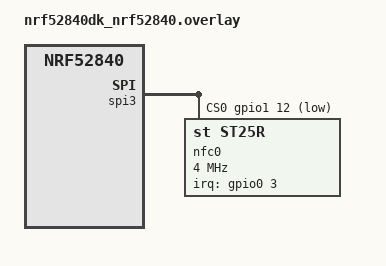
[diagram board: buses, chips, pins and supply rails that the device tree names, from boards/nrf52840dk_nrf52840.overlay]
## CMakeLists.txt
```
#-------------------------------------------------------------------------------
# Zephyr Example Application
#
# Copyright (c) 2021 Nordic Semiconductor ASA
# SPDX-License-Identifier: Apache-2.0

cmake_minimum_required(VERSION 3.21)

# STEP 8.1 Add external module
list(APPEND EXTRA_ZEPHYR_MODULES
  ${CMAKE_CURRENT_SOURCE_DIR}/modules/zephyr/zephyr-st25r
)

find_package(Zephyr REQUIRED HINTS $ENV{ZEPHYR_BASE})

project(app LANGUAGES C)

target_sources(app PRIVATE src/main.c)
```

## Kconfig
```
# SPDX-License-Identifier: Apache-2.0

config NFC_CHARGER_APP
	bool "NFC Charger Application"
	default y
	help
	  Enable the NFC charger application with ST25R3916B support.

if NFC_CHARGER_APP

config ST25R3916B_DRIVER
	bool "ST25R3916B NFC Reader Driver"
	default y
	depends on SPI
	help
	  Enable ST25R3916B NFC reader chip driver.

config OPA323_ADC_CONTROL
	bool "OPA323 ADC Control for Ambient Light"
	default y
	depends on ADC && PWM
	help
	  Enable ambient light sensing and LED brightness control.

endif # NFC_CHARGER_APP

source "Kconfig.zephyr"
```

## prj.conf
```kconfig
CONFIG_LOG=y

CONFIG_SPI=y
CONFIG_I2C=n
CONFIG_GPIO=y

CONFIG_ST25R=y
CONFIG_ST25R3916B=y
CONFIG_ST25R_TRIGGER_GLOBAL_THREAD=y

CONFIG_RFAL_USE_I2C=n
CONFIG_RFAL_FEATURE_NFCA=y
CONFIG_RFAL_FEATURE_ISO_DEP=y
CONFIG_RFAL_FEATURE_ISO_DEP_POLL=y
```

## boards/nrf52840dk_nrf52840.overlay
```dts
/* SPI configuration */

&spi3 {
    status = "okay";

    cs-gpios = <&gpio1 12 GPIO_ACTIVE_LOW>;

    nfc0: st25r@0 {
        compatible = "st,st25r";
        reg = <0x0>;
        spi-max-frequency = <4000000>;
        irq-gpios = <&gpio0 3 GPIO_ACTIVE_HIGH>;
    };
};

/* I2C configuration */

/*
&spi1 {
    status = "disabled";
};

&i2c0 {
    status = "okay";

    nfc1: st25r@50 {
        compatible = "st,st25r";
        reg = <0x50>;
        irq-gpios = <&gpio0 3 GPIO_ACTIVE_HIGH>;
    };
};
*/
```

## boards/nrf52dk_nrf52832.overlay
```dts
	
&spi1 {
    compatible = "nordic,nrf-spi"; //using SPI as per ERRATA 58
	status = "okay";
	pinctrl-0 = <&spi1_default>;
	pinctrl-1 = <&spi1_sleep>;
	pinctrl-names = "default", "sleep";
	cs-gpios = <&gpio0 30 GPIO_ACTIVE_LOW>;

/* STEP 8.3 Create bme280 node */
    nfc0: st25r@0 {
        compatible = "st,st25r";
        reg = <0x0>;
        spi-max-frequency = <4000000>;
        irq-gpios = <&gpio0 31 GPIO_ACTIVE_HIGH>;
    };
};


&pinctrl {
	spi1_default: spi1_default {
		group1 {
				psels = <NRF_PSEL(SPIM_SCK, 0, 29)>,
						<NRF_PSEL(SPIM_MOSI, 0, 28)>,
						<NRF_PSEL(SPIM_MISO, 0, 27)>;
		};
	};

	spi1_sleep: spi1_sleep {
		group1 {
				psels = <NRF_PSEL(SPIM_SCK, 0, 29)>,
						<NRF_PSEL(SPIM_MOSI, 0, 28)>,
						<NRF_PSEL(SPIM_MISO, 0, 27)>;
				low-power-enable;
		};
	};
};
```

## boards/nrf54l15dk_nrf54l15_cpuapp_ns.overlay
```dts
&spi21 {
    compatible = "nordic,nrf-spim";
	status = "okay";
	pinctrl-0 = <&spi21_default>;
	pinctrl-1 = <&spi21_sleep>;
	pinctrl-names = "default", "sleep";
	cs-gpios = <&gpio1 8 GPIO_ACTIVE_LOW>;

/* STEP 8.3 Create bme280 node */
	bme280: bme280@0 {
		compatible = "zephyr,custom-bme280";
		reg = <0>;
		spi-max-frequency = <1000000>; // 1MHz
	};
};

&pinctrl {
	spi21_default: spi21_default {
		group1 {
				psels = <NRF_PSEL(SPIM_SCK, 1, 11)>,
						<NRF_PSEL(SPIM_MOSI, 1, 13)>,
						<NRF_PSEL(SPIM_MISO, 1, 14)>;
		};
	};

	spi21_sleep: spi21_sleep {
		group1 {
				psels = <NRF_PSEL(SPIM_SCK, 1, 11)>,
						<NRF_PSEL(SPIM_MOSI, 1, 13)>,
						<NRF_PSEL(SPIM_MISO, 1, 14)>;
				low-power-enable;
		};
	};
};
```

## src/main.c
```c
/*
 * Copyright (c) 2021 Nordic Semiconductor ASA
 * SPDX-License-Identifier: Apache-2.0
 */

#include <stdbool.h>

#include <zephyr/kernel.h>
#include <zephyr/logging/log.h>

#include <zephyr/devicetree.h>
#include <zephyr/drivers/gpio.h>
#include <zephyr/drivers/spi.h>

 #include "rfal_nfc.h"
 
 LOG_MODULE_REGISTER(Lesson7_Exercise1, LOG_LEVEL_INF);
 
 /* STEP 3 - Retrieve the API-device structure */
#define SPIOP	SPI_WORD_SET(8) | SPI_TRANSFER_MSB
struct spi_dt_spec spispec = SPI_DT_SPEC_GET(DT_NODELABEL(nfc0), SPIOP, 0);

const struct gpio_dt_spec ledspec = GPIO_DT_SPEC_GET(DT_NODELABEL(led0), gpios);


 int main(void)
 {
     int err;

     //ReturnCode err1 = rfalNfcInitialize();

     err = gpio_is_ready_dt(&ledspec);
	if (!err) {
		LOG_ERR("Error: GPIO device is not ready, err: %d", err);
		return 0;
	}

     err = spi_is_ready_dt(&spispec);
	if (!err) {
		LOG_ERR("Error: SPI device is not ready, err: %d", err);
		return 0;
	}
    gpio_pin_configure_dt(&ledspec, GPIO_OUTPUT_ACTIVE);

     LOG_INF("Lesson 7 - Exercise 1 started");
 
     /* STEP 9.2 - Define variables to store the temperature, pressure and humidity */
    
 
     while (1) {
         /* STEP 9.3 - Continuously read out sensor data using the sensor API calls */
        gpio_pin_toggle_dt(&ledspec);
         LOG_INF("Lesson 7 - Exercise 1 started");
         k_sleep(K_MSEC(1000));
     }
     
     return 0;
 }
```

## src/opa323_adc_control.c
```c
#include "opa323_adc_control.h"
#include <zephyr/kernel.h>
#include <zephyr/device.h>
#include <zephyr/drivers/adc.h>
#include <zephyr/drivers/pwm.h>
#include <zephyr/drivers/gpio.h>
#include <zephyr/logging/log.h>
#include <math.h>

LOG_MODULE_REGISTER(opa323_adc, LOG_LEVEL_INF);

// Define the ADC configuration
#define ADC_DEVICE_NODE DT_NODELABEL(adc)
#define ADC_RESOLUTION 10
#define ADC_GAIN ADC_GAIN_1
#define ADC_REFERENCE ADC_REF_VDD_1_4
#define ADC_ACQUISITION_TIME ADC_ACQ_TIME_DEFAULT
#define ADC_1ST_CHANNEL_ID 1
#define ADC_1ST_CHANNEL_INPUT NRF_SAADC_AIN1

// Define PWM devices
#define PWM_LED_R_NODE DT_ALIAS(pwm_led0)
#define PWM_LED_G_NODE DT_ALIAS(pwm_led1)
#define PWM_LED_B_NODE DT_ALIAS(pwm_led2)

// GPIO pins for LEDs
#define LED_R_PIN 17
#define LED_G_PIN 19
#define LED_B_PIN 20

// Averaging and thresholding constants
#define ADC_AVERAGE_COUNT 20
#define DARK_ADC_THRESHOLD 25
#define ADC_REFERENCE_MV 825.0f

// Global variables
static const struct device *adc_dev;
static const struct device *pwm_led_r;
static const struct device *pwm_led_g;
static const struct device *pwm_led_b;
static const struct device *gpio_dev;

static int16_t adc_sample_buffer[1];
static int16_t adc_history[ADC_AVERAGE_COUNT];
static uint8_t adc_history_idx = 0;
static bool adc_history_full = false;
static bool is_charging = false;

static struct adc_channel_cfg m_1st_channel_cfg = {
    .gain             = ADC_GAIN,
    .reference        = ADC_REFERENCE,
    .acquisition_time = ADC_ACQUISITION_TIME,
    .channel_id       = ADC_1ST_CHANNEL_ID,
#if defined(CONFIG_ADC_CONFIGURABLE_INPUTS)
    .input_positive   = ADC_1ST_CHANNEL_INPUT,
#endif
};

static struct adc_sequence sequence = {
    .buffer      = adc_sample_buffer,
    .buffer_size = sizeof(adc_sample_buffer),
    .resolution  = ADC_RESOLUTION,
};

int saadc_init(void)
{
    int ret;

    adc_dev = DEVICE_DT_GET(ADC_DEVICE_NODE);
    if (!device_is_ready(adc_dev)) {
        LOG_ERR("ADC device not ready");
        return -ENODEV;
    }

    ret = adc_channel_setup(adc_dev, &m_1st_channel_cfg);
    if (ret) {
        LOG_ERR("Setting up the ADC channel failed with code %d", ret);
        return ret;
    }

    (void)adc_sequence_init_dt(&m_1st_channel_cfg, &sequence);

    // Initialize ADC history
    memset(adc_history, 0, sizeof(adc_history));
    adc_history_idx = 0;
    adc_history_full = false;

    LOG_INF("ADC initialized successfully");
    return 0;
}

int pwm_led_init(void)
{
    pwm_led_r = DEVICE_DT_GET(DT_PWMS_CTLR(DT_ALIAS(pwm_led0)));
    pwm_led_g = DEVICE_DT_GET(DT_PWMS_CTLR(DT_ALIAS(pwm_led1)));
    pwm_led_b = DEVICE_DT_GET(DT_PWMS_CTLR(DT_ALIAS(pwm_led2)));

    if (!device_is_ready(pwm_led_r) || !device_is_ready(pwm_led_g) || !device_is_ready(pwm_led_b)) {
        LOG_ERR("PWM LED devices not ready");
        return -ENODEV;
    }

    // Initialize all PWM channels to 0 (LEDs off)
    pwm_set_dt(&(struct pwm_dt_spec){pwm_led_r, DT_PWMS_CHANNEL(DT_ALIAS(pwm_led0)), DT_PWMS_PERIOD(DT_ALIAS(pwm_led0)), DT_PWMS_FLAGS(DT_ALIAS(pwm_led0))}, 0);
    pwm_set_dt(&(struct pwm_dt_spec){pwm_led_g, DT_PWMS_CHANNEL(DT_ALIAS(pwm_led1)), DT_PWMS_PERIOD(DT_ALIAS(pwm_led1)), DT_PWMS_FLAGS(DT_ALIAS(pwm_led1))}, 0);
    pwm_set_dt(&(struct pwm_dt_spec){pwm_led_b, DT_PWMS_CHANNEL(DT_ALIAS(pwm_led2)), DT_PWMS_PERIOD(DT_ALIAS(pwm_led2)), DT_PWMS_FLAGS(DT_ALIAS(pwm_led2))}, 0);

    LOG_INF("PWM LEDs initialized successfully");
    return 0;
}

int leds_init(void)
{
    gpio_dev = DEVICE_DT_GET(DT_NODELABEL(gpio0));
    if (!device_is_ready(gpio_dev)) {
        LOG_ERR("GPIO device not ready");
        return -ENODEV;
    }

    // Configure LED pins as outputs
    gpio_pin_configure(gpio_dev, LED_R_PIN, GPIO_OUTPUT_INACTIVE);
    gpio_pin_configure(gpio_dev, LED_G_PIN, GPIO_OUTPUT_INACTIVE);
    gpio_pin_configure(gpio_dev, LED_B_PIN, GPIO_OUTPUT_INACTIVE);

    LOG_INF("LEDs initialized successfully");
    return 0;
}

void update_led_brightness_from_adc(void)
{
    int ret;
    int16_t raw_adc_value;

    // Perform ADC conversion
    ret = adc_read(adc_dev, &sequence);
    if (ret) {
        LOG_ERR("ADC read failed with code %d", ret);
        return;
    }

    raw_adc_value = adc_sample_buffer[0];

    // Store in averaging buffer
    adc_history[adc_history_idx] = raw_adc_value;
    adc_history_idx = (adc_history_idx + 1) % ADC_AVERAGE_COUNT;

    if (adc_history_idx == 0) {
        adc_history_full = true;
    }

    // Calculate average
    int32_t sum = 0;
    uint8_t count = adc_history_full ? ADC_AVERAGE_COUNT : adc_history_idx;
    
    for (int i = 0; i < count; i++) {
        sum += adc_history[i];
    }
    
    int16_t averaged_adc_value = (count == 0) ? 0 : (sum / count);

    // Clamp to valid range
    if (averaged_adc_value < 0) averaged_adc_value = 0;
    if (averaged_adc_value > 1023) averaged_adc_value = 1023;

    // Calculate voltage for logging
    float voltage_mv = ((float)averaged_adc_value / 1023.0f) * ADC_REFERENCE_MV;

    // Calculate brightness
    uint32_t final_brightness_pwm;
    
    if (averaged_adc_value <= DARK_ADC_THRESHOLD) {
        final_brightness_pwm = PWM_USEC(10); // Minimum brightness
    } else {
        float normalized_for_brightness = ((float)(averaged_adc_value - DARK_ADC_THRESHOLD)) / (1023 - DARK_ADC_THRESHOLD);
        if (normalized_for_brightness < 0.0f) normalized_for_brightness = 0.0f;
        if (normalized_for_brightness > 1.0f) normalized_for_brightness = 1.0f;

        // Apply logarithmic scaling
        float brightness_f = logf(1.0f + 9.0f * normalized_for_brightness) / logf(10.0f);
        final_brightness_pwm = PWM_USEC((uint32_t)(brightness_f * 1000.0f));
    }

    // Set PWM based on charging status
    struct pwm_dt_spec led_r_spec = {pwm_led_r, DT_PWMS_CHANNEL(DT_ALIAS(pwm_led0)), DT_PWMS_PERIOD(DT_ALIAS(pwm_led0)), DT_PWMS_FLAGS(DT_ALIAS(pwm_led0))};
    struct pwm_dt_spec led_g_spec = {pwm_led_g, DT_PWMS_CHANNEL(DT_ALIAS(pwm_led1)), DT_PWMS_PERIOD(DT_ALIAS(pwm_led1)), DT_PWMS_FLAGS(DT_ALIAS(pwm_led1))};
    struct pwm_dt_spec led_b_spec = {pwm_led_b, DT_PWMS_CHANNEL(DT_ALIAS(pwm_led2)), DT_PWMS_PERIOD(DT_ALIAS(pwm_led2)), DT_PWMS_FLAGS(DT_ALIAS(pwm_led2))};

    if (is_charging) {
        pwm_set_dt(&led_r_spec, 0);                    // Red off
        pwm_set_dt(&led_g_spec, final_brightness_pwm); // Green with brightness
        pwm_set_dt(&led_b_spec, 0);                    // Blue off
    } else {
        pwm_set_dt(&led_r_spec, final_brightness_pwm); // Red with brightness
        pwm_set_dt(&led_g_spec, 0);                    // Green off
        pwm_set_dt(&led_b_spec, 0);                    // Blue off
    }
}

void set_led_charging(bool charging)
{
    is_charging = charging;
}
```

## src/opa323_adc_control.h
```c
#ifndef OPA323_ADC_CONTROL_H
#define OPA323_ADC_CONTROL_H

#include <zephyr/kernel.h>
#include <zephyr/device.h>
#include <zephyr/drivers/adc.h>
#include <zephyr/drivers/pwm.h>
#include <zephyr/drivers/gpio.h>
#include <stdbool.h>
#include <stdint.h>

/**
 * @brief Initialize SAADC to read photodiode connected to P0.03 (AIN1).
 */
int saadc_init(void);

/**
 * @brief Initialize PWM for LED brightness control.
 */
int pwm_led_init(void);

/**
 * @brief Perform an ADC conversion and update PWM duty cycle based on ambient light.
 */
void update_led_brightness_from_adc(void);

/**
 * @brief Initialize LEDs (Red = P0.17, Green = P0.19, Blue = P0.20)
 */
int leds_init(void);

/**
 * @brief Controls LED state for charging indication
 * @param charging true = Green LED ON, others OFF; false = Red LED ON, others OFF
 */
void set_led_charging(bool charging);

#endif // OPA323_ADC_CONTROL_H
```

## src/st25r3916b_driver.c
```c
#include "st25r3916b_driver.h"
#include <zephyr/kernel.h>
#include <zephyr/device.h>
#include <zephyr/drivers/spi.h>
#include <zephyr/drivers/gpio.h>
#include <zephyr/logging/log.h>

LOG_MODULE_REGISTER(st25r3916b, LOG_LEVEL_INF);

// --- ST25R3916B Register Addresses ---
#define ST25R_REG_OP_CONTROL         0x02
#define ST25R_REG_MODE               0x03
#define ST25R_REG_AUX                0x0A
#define ST25R_REG_REGULATOR          0x2C
#define ST25R_REG_IRQ_MAIN           0x1A
#define ST25R_REG_IRQ_MASK_MAIN      0x16
#define ST25R_REG_IRQ_TIMER_NFC_MASK 0x17
#define ST25R_REG_IRQ_TIMER_NFC      0x1B
#define ST25R_REG_FIELD_ACT          0x2A
#define ST25R_REG_FIELD_DEACT        0x2B
#define ST25R_REG_AUX_DISPLAY        0x31
#define ST25R_REG_TX_DRIVER_REGISTER 0x28
#define ST25R_REG_AD_CONV_OUTPUT     0x25

// --- Bit definitions from datasheet ---
#define ST25R_IRQ_OSC                (1U << 7)
#define ST25R_IRQ_EXTERNAL_FIELD_DETECTED (1U << 4)
#define ST25R_AUX_DISPLAY_EXTERNAL_FIELD_BIT (1U << 6)
#define ST25R_AUX_DISPLAY_FDO_FIELD_ON_BIT (1U << 7)

// ST25R3916B Commands
#define ST25R_CMD_SW_RESET           0xC0

// Device handles
static const struct device *spi_dev;
static struct spi_config spi_cfg;
static const struct device *irq_gpio_dev;
static struct gpio_callback irq_cb_data;

// Global flag to signal IRQ to the main application logic
volatile bool g_st25r_irq_pending = false;

// IRQ handler for ST25R3916B
static void st25r_irq_handler(const struct device *dev, struct gpio_callback *cb, uint32_t pins)
{
    // Set a global flag to be processed in the main loop
    g_st25r_irq_pending = true;
    LOG_INF("ST25R IRQ occurred");

    // Read and clear IRQ registers on the ST25R3916B
    uint8_t irq_status_main;
    st25r391x_read_register(ST25R_REG_IRQ_MAIN, &irq_status_main);
    LOG_INF("IRQ Main Status: 0x%02X", irq_status_main);

    uint8_t irq_status_timer_nfc;
    st25r391x_read_register(ST25R_REG_IRQ_TIMER_NFC, &irq_status_timer_nfc);
    LOG_INF("IRQ Timer & NFC Status: 0x%02X", irq_status_timer_nfc);
}

int st25r_spi_init(void)
{
    spi_dev = DEVICE_DT_GET(DT_ALIAS(st25_spi));
    if (!device_is_ready(spi_dev)) {
        LOG_ERR("ST25R SPI device not ready");
        return -ENODEV;
    }

    spi_cfg.operation = SPI_WORD_SET(8) | SPI_TRANSFER_MSB | SPI_MODE_CPOL | SPI_OP_MODE_MASTER;
    spi_cfg.frequency = 4000000; // 4 MHz
    spi_cfg.slave = 0;

    LOG_INF("ST25R SPI Initialized with Mode 1");
    return 0;
}

int st25r391x_write_register(uint8_t reg, uint8_t value)
{
    uint8_t tx_buf[2] = { (uint8_t)(reg | 0x80), value }; // MSB=1 for write
    
    struct spi_buf tx_spi_buf = {
        .buf = tx_buf,
        .len = sizeof(tx_buf)
    };
    
    struct spi_buf_set tx_spi_buf_set = {
        .buffers = &tx_spi_buf,
        .count = 1
    };

    int ret = spi_transceive(spi_dev, &spi_cfg, &tx_spi_buf_set, NULL);
    if (ret < 0) {
        LOG_ERR("SPI write failed: %d", ret);
        return ret;
    }

    LOG_DBG("SPI Write: Reg 0x%02X, Val 0x%02X", reg, value);
    return 0;
}

int st25r391x_read_register(uint8_t reg, uint8_t *value)
{
    uint8_t tx_buf[2] = { (uint8_t)(reg & 0x7F), 0x00 }; // MSB=0 for read
    uint8_t rx_buf[2];

    struct spi_buf tx_spi_buf = {
        .buf = tx_buf,
        .len = sizeof(tx_buf)
    };
    
    struct spi_buf rx_spi_buf = {
        .buf = rx_buf,
        .len = sizeof(rx_buf)
    };
    
    struct spi_buf_set tx_spi_buf_set = {
        .buffers = &tx_spi_buf,
        .count = 1
    };
    
    struct spi_buf_set rx_spi_buf_set = {
        .buffers = &rx_spi_buf,
        .count = 1
    };

    int ret = spi_transceive(spi_dev, &spi_cfg, &tx_spi_buf_set, &rx_spi_buf_set);
    if (ret < 0) {
        LOG_ERR("SPI read failed: %d", ret);
        return ret;
    }

    *value = rx_buf[1]; // The actual data is in the second byte
    LOG_DBG("SPI Read: Reg 0x%02X, Val 0x%02X", reg, *value);
    return 0;
}

int st25r391x_send_command(uint8_t command)
{
    uint8_t tx_buf[1] = { command };
    
    struct spi_buf tx_spi_buf = {
        .buf = tx_buf,
        .len = sizeof(tx_buf)
    };
    
    struct spi_buf_set tx_spi_buf_set = {
        .buffers = &tx_spi_buf,
        .count = 1
    };

    int ret = spi_transceive(spi_dev, &spi_cfg, &tx_spi_buf_set, NULL);
    if (ret < 0) {
        LOG_ERR("SPI command failed: %d", ret);
        return ret;
    }

    LOG_DBG("SPI Command: 0x%02X", command);
    return 0;
}

int st25r_irq_init(void)
{
    irq_gpio_dev = DEVICE_DT_GET(DT_NODELABEL(gpio0));
    if (!device_is_ready(irq_gpio_dev)) {
        LOG_ERR("IRQ GPIO device not ready");
        return -ENODEV;
    }

    int ret = gpio_pin_configure(irq_gpio_dev, 31, GPIO_INPUT | GPIO_PULL_UP);
    if (ret < 0) {
        LOG_ERR("Failed to configure IRQ pin: %d", ret);
        return ret;
    }

    ret = gpio_pin_interrupt_configure(irq_gpio_dev, 31, GPIO_INT_EDGE_FALLING);
    if (ret < 0) {
        LOG_ERR("Failed to configure IRQ interrupt: %d", ret);
        return ret;
    }

    gpio_init_callback(&irq_cb_data, st25r_irq_handler, BIT(31));
    ret = gpio_add_callback(irq_gpio_dev, &irq_cb_data);
    if (ret < 0) {
        LOG_ERR("Failed to add IRQ callback: %d", ret);
        return ret;
    }

    LOG_INF("ST25R IRQ Pin Initialized");
    return 0;
}

int st25r3916b_initial_setup(void)
{
    LOG_INF("Performing ST25R3916B Soft Reset...");
    int ret = st25r391x_send_command(ST25R_CMD_SW_RESET);
    if (ret < 0) return ret;
    
    k_msleep(10); // Wait after reset

    // Mask all main interrupts initially
    ret = st25r391x_write_register(ST25R_REG_IRQ_MASK_MAIN, 0xFF);
    if (ret < 0) return ret;
    
    // Clear any pending IRQs by reading the registers
    uint8_t dummy_irq_read;
    st25r391x_read_register(ST25R_REG_IRQ_MAIN, &dummy_irq_read);
    st25r391x_read_register(ST25R_REG_IRQ_TIMER_NFC, &dummy_irq_read);
    LOG_INF("All ST25R IRQs masked and cleared");

    // Wait for oscillator to stabilize
    ret = st25r391x_write_register(ST25R_REG_IRQ_MASK_MAIN, (uint8_t)(~ST25R_IRQ_OSC));
    if (ret < 0) return ret;
    
    LOG_INF("Waiting for ST25R3916B oscillator to stabilize...");
    uint8_t irq_status = 0;
    bool osc_stable = false;
    
    for (int i = 0; i < 200; i++) {
        ret = st25r391x_read_register(ST25R_REG_IRQ_MAIN, &irq_status);
        if (ret < 0) return ret;
        
        if (irq_status & ST25R_IRQ_OSC) {
            osc_stable = true;
            LOG_INF("ST25R3916B Oscillator stable (IRQ: 0x%02X)", irq_status);
            break;
        }
        k_msleep(1);
    }
    
    if (!osc_stable) {
        LOG_ERR("ST25R3916B Oscillator failed to stabilize within timeout");
        return -ETIMEDOUT;
    }

    // Re-mask all IRQs
    ret = st25r391x_write_register(ST25R_REG_IRQ_MASK_MAIN, 0xFF);
    if (ret < 0) return ret;
    
    st25r391x_read_register(ST25R_REG_IRQ_MAIN, &dummy_irq_read);
    st25r391x_read_register(ST25R_REG_IRQ_TIMER_NFC, &dummy_irq_read);

    // Set Mode Register for General Purpose operation
    ret = st25r391x_write_register(ST25R_REG_MODE, 0x00);
    if (ret < 0) return ret;
    
    LOG_INF("ST25R3916B Mode Register set to 0x00 (General Purpose)");
    LOG_INF("ST25R3916B Initial setup complete");
    
    return 0;
}

int st25r3916b_prepare_for_rf_field(void)
{
    LOG_INF("Preparing ST25R3916B for RF field generation...");

    uint8_t op_control_val;
    int ret;

    // Ensure chip is in Ready mode
    ret = st25r391x_read_register(ST25R_REG_OP_CONTROL, &op_control_val);
    if (ret < 0) return ret;
    
    op_control_val |= (1U << 7); // Set 'en' bit
    ret = st25r391x_write_register(ST25R_REG_OP_CONTROL, op_control_val);
    if (ret < 0) return ret;
    
    k_msleep(5);
    LOG_INF("OP_CONTROL after enabling 'en' bit: 0x%02X", op_control_val);

    // Set regulated voltage
    ret = st25r391x_write_register(ST25R_REG_REGULATOR, 0x07);
    if (ret < 0) return ret;
    
    LOG_INF("Regulator set to 0x07");

    // Set Field On/Off Thresholds
    ret = st25r391x_write_register(ST25R_REG_FIELD_ACT, 0x1F);
    if (ret < 0) return ret;
    
    ret = st25r391x_write_register(ST25R_REG_FIELD_DEACT, 0x1E);
    if (ret < 0) return ret;
    
    LOG_INF("External Field Detect Thresholds set: Act=0x1F, Deact=0x1E");

    // Disable the External Field Detector
    ret = st25r391x_read_register(ST25R_REG_OP_CONTROL, &op_control_val);
    if (ret < 0) return ret;
    
    op_control_val &= ~((1U << 1) | (1U << 0)); // Clear en_fd_c bits
    ret = st25r391x_write_register(ST25R_REG_OP_CONTROL, op_control_val);
    if (ret < 0) return ret;
    
    LOG_INF("OP_CONTROL External Field Detector disabled: 0x%02X", op_control_val);

    // Mask the External Field Detected interrupt
    uint8_t current_timer_nfc_irq_mask;
    ret = st25r391x_read_register(ST25R_REG_IRQ_TIMER_NFC_MASK, &current_timer_nfc_irq_mask);
    if (ret < 0) return ret;
    
    ret = st25r391x_write_register(ST25R_REG_IRQ_TIMER_NFC_MASK, 
                                   current_timer_nfc_irq_mask | ST25R_IRQ_EXTERNAL_FIELD_DETECTED);
    if (ret < 0) return ret;
    
    LOG_INF("IRQ Timer & NFC Mask after masking I_eon: 0x%02X", 
            (current_timer_nfc_irq_mask | ST25R_IRQ_EXTERNAL_FIELD_DETECTED));

    // Clear any pending IRQs
    uint8_t dummy_irq_read;
    st25r391x_read_register(ST25R_REG_IRQ_TIMER_NFC, &dummy_irq_read);
    LOG_INF("Cleared Timer & NFC IRQs (0x%02X)", dummy_irq_read);

    LOG_INF("ST25R3916B prepared for RF field generation");
    k_msleep(5);
    
    return 0;
}

uint8_t st25r3916b_measure_rf_amplitude(void)
{
    uint8_t op_control_val;
    int ret = st25r391x_read_register(ST25R_REG_OP_CONTROL, &op_control_val);
    if (ret < 0 || !(op_control_val & (1U << 7))) {
        LOG_WRN("ST25R: Chip not in Ready mode for amplitude measurement");
        return 0;
    }

    // Send Measure Amplitude command
    ret = st25r391x_send_command(0xD3);
    if (ret < 0) {
        LOG_ERR("Failed to send measure amplitude command");
        return 0;
    }

    // Wait for command completion
    k_usleep(50);

    uint8_t amp_value = 0;
    ret = st25r391x_read_register(ST25R_REG_AD_CONV_OUTPUT, &amp_value);
    if (ret < 0) {
        LOG_ERR("Failed to read amplitude value");
        return 0;
    }

    LOG_DBG("RF Amplitude Measurement: 0x%02X", amp_value);
    return amp_value;
}

int enable_charging(void)
{
    LOG_INF("Attempting to enable charging RF field...");

    uint8_t op_control_val;
    int ret;

    // Ensure chip is in Ready mode
    ret = st25r391x_read_register(ST25R_REG_OP_CONTROL, &op_control_val);
    if (ret < 0) return ret;
    
    op_control_val |= (1U << 7); // Set 'en' bit
    ret = st25r391x_write_register(ST25R_REG_OP_CONTROL, op_control_val);
    if (ret < 0) return ret;
    
    k_msleep(5);
    LOG_INF("OP_CONTROL after enabling 'en' bit: 0x%02X", op_control_val);

    // Set regulated voltage
    ret = st25r391x_write_register(ST25R_REG_REGULATOR, 0x07);
    if (ret < 0) return ret;
    
    LOG_INF("Regulator set to 0x07");

    // Configure TX Driver for output power
    ret = st25r391x_write_register(ST25R_REG_TX_DRIVER_REGISTER, 0x00);
    if (ret < 0) return ret;
    
    LOG_INF("TX_DRIVER_REGISTER set to 0x00 (Max Drive)");

    // Enable Transmitter (TX)
    ret = st25r391x_read_register(ST25R_REG_OP_CONTROL, &op_control_val);
    if (ret < 0) return ret;
    
    op_control_val |= (1U << 3); // Set 'tx_en' bit
    ret = st25r391x_write_register(ST25R_REG_OP_CONTROL, op_control_val);
    if (ret < 0) return ret;
    
    LOG_INF("OP_CONTROL after setting 'tx_en' bit: 0x%02X", op_control_val);

    k_msleep(10); // Wait for stabilization

    // Verify chip state and RF field presence
    uint8_t actual_op_control;
    ret = st25r391x_read_register(ST25R_REG_OP_CONTROL, &actual_op_control);
    if (ret < 0) return ret;
    
    LOG_INF("Final OP_CONTROL: 0x%02X", actual_op_control);

    uint8_t actual_regulator_val;
    st25r391x_read_register(ST25R_REG_REGULATOR, &actual_regulator_val);
    LOG_INF("Final REGULATOR: 0x%02X", actual_regulator_val);

    uint8_t actual_tx_driver_val;
    st25r391x_read_register(ST25R_REG_TX_DRIVER_REGISTER, &actual_tx_driver_val);
    LOG_INF("Final TX_DRIVER_REGISTER: 0x%02X", actual_tx_driver_val);

    uint8_t aux_display_status = 0;
    ret = st25r391x_read_register(ST25R_REG_AUX_DISPLAY, &aux_display_status);
    if (ret < 0) return ret;
    
    LOG_INF("AUX_DISPLAY after TX enable: 0x%02X", aux_display_status);

    if (aux_display_status & ST25R_AUX_DISPLAY_FDO_FIELD_ON_BIT) {
        LOG_INF("Internal RF field is active (fdo_field_on set, bit 7)");
    } else {
        LOG_WRN("Internal RF field is NOT active (fdo_field_on NOT set, bit 7)");
    }
    
    if (aux_display_status & ST25R_AUX_DISPLAY_EXTERNAL_FIELD_BIT) {
        LOG_INF("External field detected (efd_o set, bit 6)");
    } else {
        LOG_INF("External field NOT detected (efd_o NOT set, bit 6)");
    }

    if ((actual_op_control & (1U << 3)) && (aux_display_status & ST25R_AUX_DISPLAY_FDO_FIELD_ON_BIT)) {
        LOG_INF("RF field is successfully active (charging possible)");
    } else {
        LOG_ERR("RF field is NOT active! Check configuration and chip state");
        return -EIO;
    }
    
    return 0;
}

int disable_charging(void)
{
    LOG_INF("Disabling charging RF field...");

    uint8_t op_control_val;
    int ret = st25r391x_read_register(ST25R_REG_OP_CONTROL, &op_control_val);
    if (ret < 0) return ret;
    
    // Clear 'tx_en' bit while ensuring 'en' bit remains set
    op_control_val &= ~(1U << 3); // Clear 'tx_en' bit
    op_control_val |= (1U << 7);  // Ensure 'en' bit is high
    ret = st25r391x_write_register(ST25R_REG_OP_CONTROL, op_control_val);
    if (ret < 0) return ret;

    LOG_INF("RF field disabled (chip still in Ready mode: 0x%02X)", op_control_val);
    return 0;
}
```

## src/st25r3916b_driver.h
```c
#ifndef ST25R3916B_H
#define ST25R3916B_H

#include <zephyr/kernel.h>
#include <zephyr/device.h>
#include <zephyr/drivers/spi.h>
#include <zephyr/drivers/gpio.h>
#include <zephyr/logging/log.h>
#include <stdint.h>
#include <stdbool.h>

// --- Driver Core Functions ---

/**
 * @brief Initializes the SPI interface for communication with the ST25R3916B.
 */
int st25r_spi_init(void);

/**
 * @brief Writes a single byte to an ST25R3916B register.
 *
 * @param[in] reg The register address to write to.
 * @param[in] value The byte value to write.
 */
int st25r391x_write_register(uint8_t reg, uint8_t value);

/**
 * @brief Reads a single byte from an ST25R3916B register.
 *
 * @param[in] reg The register address to read from.
 * @param[out] value Pointer to store the read byte value.
 */
int st25r391x_read_register(uint8_t reg, uint8_t *value);

/**
 * @brief Sends a command to the ST25R3916B.
 * Commands are special single-byte operations.
 *
 * @param[in] command The command byte to send.
 */
int st25r391x_send_command(uint8_t command);

/**
 * @brief Configures the GPIO interrupt pin for the ST25R3916B IRQ.
 * The interrupt handler will signal pending events.
 */
int st25r_irq_init(void);

/**
 * @brief Global flag indicating if an ST25R3916B IRQ is pending.
 * This flag is set in the IRQ handler and should be cleared by the main application
 * after processing the interrupt.
 */
extern volatile bool g_st25r_irq_pending;

// --- NFC/WPT Specific Functions ---

/**
 * @brief Performs a soft reset of the ST25R3916B and waits for the oscillator to stabilize.
 * This should be called once at system startup.
 */
int st25r3916b_initial_setup(void);

/**
 * @brief Enables the ST25R3916B for external RF field detection mode.
 * This configures the necessary registers to sense an incoming RF field.
 */
int st25r3916b_prepare_for_rf_field(void);

/**
 * @brief Measures the amplitude of the RF signal on RFI inputs.
 * @return Raw 8-bit ADC value from the A/D converter output register (0x25).
 */
uint8_t st25r3916b_measure_rf_amplitude(void);

/**
 * @brief Commands the ST25R3916B to enable its RF field for potential charging.
 * This function requires further implementation to follow WLC protocol.
 */
int enable_charging(void);

/**
 * @brief Commands the ST25R3916B to disable its RF field, stopping charging.
 */
int disable_charging(void);

#endif // ST25R3916B_H
```
